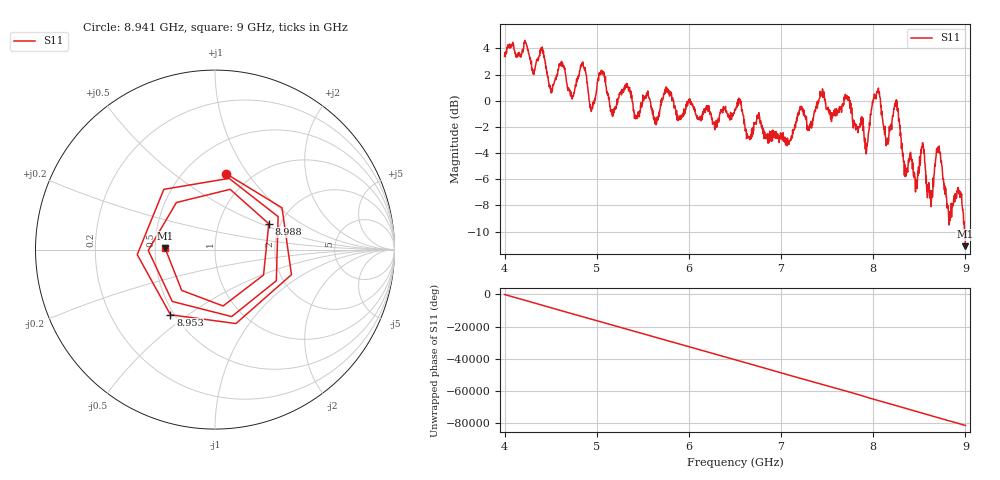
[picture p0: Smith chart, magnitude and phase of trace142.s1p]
! Created with skrf 1.8.0 (http://scikit-rf.org).
# Hz S RI R 50.0
!freq ReS11 ImS11
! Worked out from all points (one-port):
!   1601 points, 4 GHz to 9 GHz, reference 50 ohm
!   lowest |S11| = -11.1 dB at 9 GHz (marker M1), VSWR 1.77, Z = 28.2 + j0.498 ohm
!   |S11| at or under -10 dB: 8.989773 GHz to 8.993734 GHz (3.961 MHz wide, 0.044 % of centre); 8.994131 GHz to end of sweep
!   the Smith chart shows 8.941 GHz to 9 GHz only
!   S11 on the Smith chart (normalised r, x): 8.941 GHz: 0.77, +0.80; 8.953 GHz: 0.48, -0.43; 8.988 GHz: 1.74, +0.56; 9 GHz: 0.56, +0.01
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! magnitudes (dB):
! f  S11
! 4 GHz  3.4
! 4.406 GHz  4.0
! 4.509 GHz  0.8
! 4.625 GHz  2.7
! 4.734 GHz  0.1
! 4.853 GHz  2.7
! 4.941 GHz  -0.8
! 5.05 GHz  2.3
! 5.166 GHz  -0.8
! 5.25 GHz  0.6
! 5.875 GHz  -1.1
! 6.5 GHz  -0.6
! 7.125 GHz  -2.2
! 7.444 GHz  0.6
! 7.75 GHz  0.0
! 7.925 GHz  -4.0
! 8.031 GHz  0.1
! 8.147 GHz  -3.2
! 8.247 GHz  -0.1
! 8.375 GHz  -5.4
! 8.538 GHz  -3.2
! 8.622 GHz  -6.9
! 8.706 GHz  -3.8
! 8.825 GHz  -9.3
! 8.941 GHz  -7.4
! 8.953 GHz  -7.1
! 8.988 GHz  -9.6
! 9 GHz  -11.1
